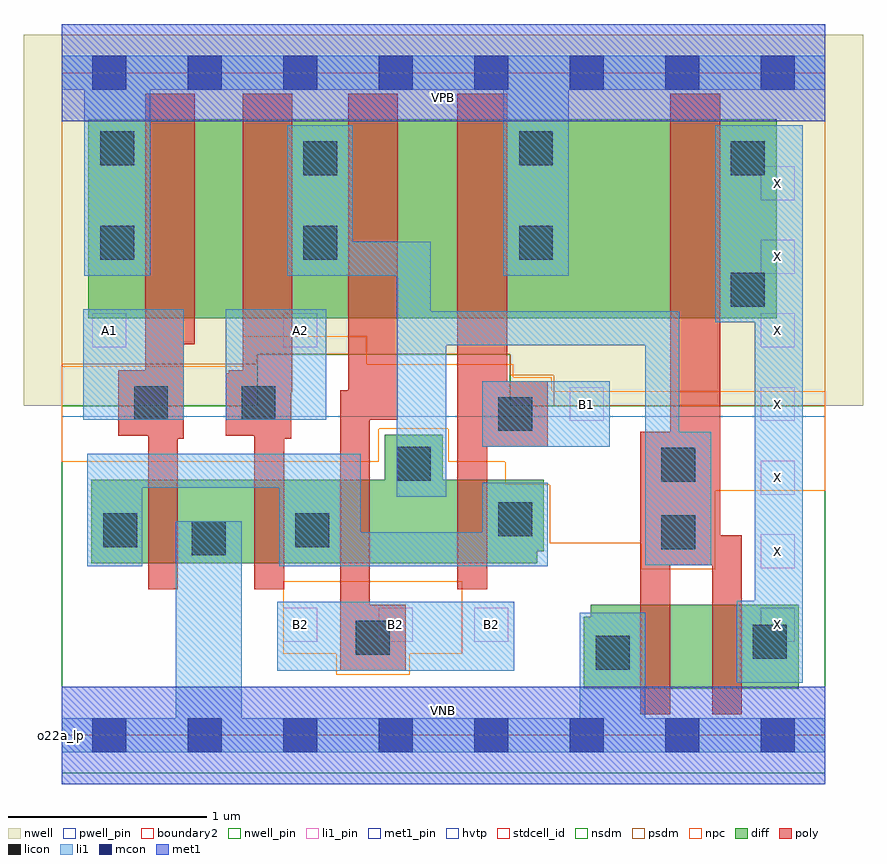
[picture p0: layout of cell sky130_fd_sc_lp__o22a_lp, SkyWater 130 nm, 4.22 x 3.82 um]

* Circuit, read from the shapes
.subckt sky130_fd_sc_lp__o22a_lp A1 A2 B1 B2 VGND VNB VPB VPWR X
XM1 VGND A1 n1 VNB sky130_fd_pr__nfet_01v8 w=0.42 l=0.15
XM2 n1 A2 VGND VNB sky130_fd_pr__nfet_01v8 w=0.42 l=0.15
XM3 n2 B2 n1 VNB sky130_fd_pr__nfet_01v8 w=0.42 l=0.15
XM4 n1 B1 n2 VNB sky130_fd_pr__nfet_01v8 w=0.42 l=0.15
XM5 n3 n2 VGND VNB sky130_fd_pr__nfet_01v8 w=0.42 l=0.15
XM6 X n2 n3 VNB sky130_fd_pr__nfet_01v8 w=0.42 l=0.15
XM7 n4 A1 VPWR VPB sky130_fd_pr__pfet_01v8_hvt w=1 l=0.25
XM8 n2 A2 n4 VPB sky130_fd_pr__pfet_01v8_hvt w=1 l=0.25
XM9 n5 B2 n2 VPB sky130_fd_pr__pfet_01v8_hvt w=1 l=0.25
XM10 VPWR B1 n5 VPB sky130_fd_pr__pfet_01v8_hvt w=1 l=0.25
XM11 X n2 VPWR VPB sky130_fd_pr__pfet_01v8_hvt w=1 l=0.25
.ends

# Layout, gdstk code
import gdstk
lib = gdstk.Library(unit=1e-6, precision=1e-09)
def R(c, l, rs):  # rectangles x0, y0, x1, y1
    for r in rs: c.add(gdstk.rectangle(r[:2], r[2:], *l))
def A(c, l, x, y, w, h, nx, ny, dx, dy):  # array of equal rectangles
    R(c, l, [(x+i*dx, y+j*dy, x+i*dx+w, y+j*dy+h) for i in range(nx) for j in range(ny)])
def P(c, l, *ps):  # polygons
    for p in ps: c.add(gdstk.Polygon(p, *l))
nwell_pin = (64, 16)
nwell = (64, 20)
diff = (65, 20)
poly = (66, 20)
licon = (66, 44)
li1_pin = (67, 16)
li1 = (67, 20)
mcon = (67, 44)
met1_pin = (68, 16)
met1 = (68, 20)
hvtp = (78, 44)
stdcell_id = (81, 4)
nsdm = (93, 44)
psdm = (94, 20)
npc = (95, 20)
pwell_pin = (122, 16)
boundary2 = (236, 0)

sky130_fd_sc_lp__o22a_lp = lib.new_cell('sky130_fd_sc_lp__o22a_lp')
R(sky130_fd_sc_lp__o22a_lp, nwell_pin, [(0,3.085,3.84,3.33)])
P(sky130_fd_sc_lp__o22a_lp, nwell, [(4.03,3.52),(-0.19,3.52),(-0.19,1.655),(0.985,1.655),(0.985,1.915),(2.255,1.915),(2.255,1.655),(4.03,1.655)])
R(sky130_fd_sc_lp__o22a_lp, diff, [(0.135,2.095,3.595,3.095)])
P(sky130_fd_sc_lp__o22a_lp, diff, [(2.425,1.285),(1.915,1.285),(1.915,1.51),(1.625,1.51),(1.625,1.285),(0.15,1.285),(0.15,0.865),(2.39,0.865),(2.39,0.925),(2.425,0.925)],
  [(3.705,0.655),(2.66,0.655),(2.66,0.595),(2.625,0.595),(2.625,0.235),(3.705,0.235)])
P(sky130_fd_sc_lp__o22a_lp, poly, [(0.67,3.225),(0.42,3.225),(0.42,1.835),(0.285,1.835),(0.285,1.505),(0.435,1.505),(0.435,0.735),(0.585,0.735),(0.585,1.49),(0.615,1.49),(0.615,1.965),(0.67,1.965)],
  [(1.16,3.225),(0.91,3.225),(0.91,1.835),(0.84,1.835),(0.84,1.82),(0.825,1.82),(0.825,1.505),(0.97,1.505),(0.97,0.735),(1.12,0.735),(1.12,1.49),(1.155,1.49),(1.155,1.725),(1.16,1.725)],
  [(1.73,0.655),(1.55,0.655),(1.55,1.585),(1.69,1.585),(1.69,3.225),(1.44,3.225),(1.44,1.735),(1.4,1.735),(1.4,0.325),(1.73,0.325)],
  [(2.445,1.78),(2.24,1.78),(2.24,3.225),(1.99,3.225),(1.99,0.735),(2.14,0.735),(2.14,1.45),(2.445,1.45)],
  [(3.42,1.005),(3.31,1.005),(3.31,3.225),(3.06,3.225),(3.06,1.525),(2.91,1.525),(2.91,0.105),(3.06,0.105),(3.06,0.855),(3.27,0.855),(3.27,0.105),(3.42,0.105)])
R(sky130_fd_sc_lp__o22a_lp, licon, [(2.685,0.33,2.855,0.5), (3.475,0.385,3.645,0.555), (1.48,0.405,1.65,0.575), (0.655,0.905,0.825,1.075), (3.015,0.935,3.185,1.105), (0.21,0.945,0.38,1.115), (1.175,0.945,1.345,1.115), (2.195,1,2.365,1.17), (3.015,1.275,3.185,1.445), (1.685,1.28,1.855,1.45), (2.195,1.53,2.365,1.7), (0.365,1.585,0.535,1.755), (0.905,1.585,1.075,1.755), (3.365,2.155,3.535,2.325), (0.195,2.39,0.365,2.56), (1.215,2.39,1.385,2.56), (2.3,2.39,2.47,2.56), (1.215,2.815,1.385,2.985), (3.365,2.815,3.535,2.985), (0.195,2.865,0.365,3.035), (2.3,2.865,2.47,3.035)])
A(sky130_fd_sc_lp__o22a_lp, li1_pin, 1.115, 0.47, 0.17, 0.17, 3, 1, 0.48, 0)
A(sky130_fd_sc_lp__o22a_lp, li1_pin, 3.515, 0.47, 0.17, 0.17, 1, 7, 0, 0.37)
R(sky130_fd_sc_lp__o22a_lp, li1_pin, [(2.555,1.58,2.725,1.75), (0.155,1.95,0.325,2.12), (1.115,1.95,1.285,2.12)])
R(sky130_fd_sc_lp__o22a_lp, li1, [(1.085,0.325,2.275,0.67), (2.115,1.45,2.755,1.78), (0.11,1.585,0.615,2.14), (0.825,1.585,1.33,2.14)])
P(sky130_fd_sc_lp__o22a_lp, li1, [(0.115,2.31),(0.115,3.245),(0,3.245),(0,3.415),(3.84,3.415),(3.84,3.245),(2.55,3.245),(2.55,2.31),(2.22,2.31),(2.22,3.245),(0.445,3.245),(0.445,2.31)],
  [(2.605,0.085),(2.605,0.615),(2.935,0.615),(2.935,0.085),(3.84,0.085),(3.84,-0.085),(0,-0.085),(0,0.085),(0.575,0.085),(0.575,1.075),(0.905,1.075),(0.905,0.085)],
  [(1.855,2.48),(1.855,2.13),(3.105,2.13),(3.105,1.525),(3.265,1.525),(3.265,0.855),(2.935,0.855),(2.935,1.96),(1.935,1.96),(1.935,1.2),(1.685,1.2),(1.685,2.31),(1.135,2.31),(1.135,3.065),(1.465,3.065),(1.465,2.48)],
  [(1.095,1.245),(0.405,1.245),(0.405,0.85),(0.13,0.85),(0.13,1.415),(1.505,1.415),(1.505,1.02),(2.115,1.02),(2.115,1.27),(2.445,1.27),(2.445,0.85),(1.095,0.85)],
  [(3.285,2.075),(3.285,3.065),(3.725,3.065),(3.725,0.265),(3.395,0.265),(3.395,0.675),(3.485,0.675),(3.485,2.075)])
A(sky130_fd_sc_lp__o22a_lp, mcon, 0.155, -0.085, 0.17, 0.17, 8, 2, 0.48, 3.33)
R(sky130_fd_sc_lp__o22a_lp, met1_pin, [(0,0,3.84,0.245), (0,3.085,3.84,3.33)])
R(sky130_fd_sc_lp__o22a_lp, met1, [(0,-0.245,3.84,0.245), (0,3.085,3.84,3.575)])
R(sky130_fd_sc_lp__o22a_lp, hvtp, [(0,1.6,3.84,3.33)])
R(sky130_fd_sc_lp__o22a_lp, stdcell_id, [(0,0,3.84,3.33)])
P(sky130_fd_sc_lp__o22a_lp, nsdm, [(3.84,1.655),(2.255,1.655),(2.255,1.915),(0.985,1.915),(0.985,1.655),(0,1.655),(0,-0.19),(3.84,-0.19)])
P(sky130_fd_sc_lp__o22a_lp, psdm, [(3.84,3.52),(0,3.52),(0,1.865),(0.985,1.865),(0.985,1.915),(2.255,1.915),(2.255,1.81),(2.475,1.81),(2.475,1.655),(3.84,1.655)])
P(sky130_fd_sc_lp__o22a_lp, npc, [(2.015,0.775),(1.115,0.775),(1.115,0.41),(1.38,0.41),(1.38,0.305),(1.75,0.305),(1.75,0.41),(2.015,0.41)],
  [(3.84,1.73),(2.465,1.73),(2.465,1.8),(2.27,1.8),(2.27,1.865),(1.535,1.865),(1.535,2.005),(0.91,2.005),(0.91,1.855),(0,1.855),(0,1.375),(1.595,1.375),(1.595,1.54),(1.945,1.54),(1.945,1.375),(2.23,1.375),(2.23,1.26),(2.455,1.26),(2.455,0.965),(2.915,0.965),(2.915,0.835),(3.285,0.835),(3.285,1.23),(3.84,1.23)])
R(sky130_fd_sc_lp__o22a_lp, pwell_pin, [(0,0,3.84,0.245)])
R(sky130_fd_sc_lp__o22a_lp, boundary2, [(0,0,3.84,3.33)])
sky130_fd_sc_lp__o22a_lp.add(gdstk.Label('VNB', (1.92,0.123), layer=64, texttype=59))
sky130_fd_sc_lp__o22a_lp.add(gdstk.Label('VPB', (1.92,3.208), layer=64, texttype=5))
sky130_fd_sc_lp__o22a_lp.add(gdstk.Label('o22a_lp', (0,0), layer=83, texttype=44))
sky130_fd_sc_lp__o22a_lp.add(gdstk.Label('VPWR', (1.92,3.208), layer=68, texttype=5))
sky130_fd_sc_lp__o22a_lp.add(gdstk.Label('VGND', (1.92,0.123), layer=68, texttype=5))
sky130_fd_sc_lp__o22a_lp.add(gdstk.Label('B1', (2.64,1.665), layer=67, texttype=5))
sky130_fd_sc_lp__o22a_lp.add(gdstk.Label('A2', (1.2,2.035), layer=67, texttype=5))
sky130_fd_sc_lp__o22a_lp.add(gdstk.Label('A1', (0.24,2.035), layer=67, texttype=5))
sky130_fd_sc_lp__o22a_lp.add(gdstk.Label('X', (3.6,0.555), layer=67, texttype=5))
sky130_fd_sc_lp__o22a_lp.add(gdstk.Label('X', (3.6,0.925), layer=67, texttype=5))
sky130_fd_sc_lp__o22a_lp.add(gdstk.Label('X', (3.6,1.295), layer=67, texttype=5))
sky130_fd_sc_lp__o22a_lp.add(gdstk.Label('X', (3.6,1.665), layer=67, texttype=5))
sky130_fd_sc_lp__o22a_lp.add(gdstk.Label('X', (3.6,2.035), layer=67, texttype=5))
sky130_fd_sc_lp__o22a_lp.add(gdstk.Label('X', (3.6,2.405), layer=67, texttype=5))
sky130_fd_sc_lp__o22a_lp.add(gdstk.Label('X', (3.6,2.775), layer=67, texttype=5))
sky130_fd_sc_lp__o22a_lp.add(gdstk.Label('B2', (1.2,0.555), layer=67, texttype=5))
sky130_fd_sc_lp__o22a_lp.add(gdstk.Label('B2', (1.68,0.555), layer=67, texttype=5))
sky130_fd_sc_lp__o22a_lp.add(gdstk.Label('B2', (2.16,0.555), layer=67, texttype=5))

lib.write_gds('sky130_fd_sc_lp__o22a_lp.gds')
